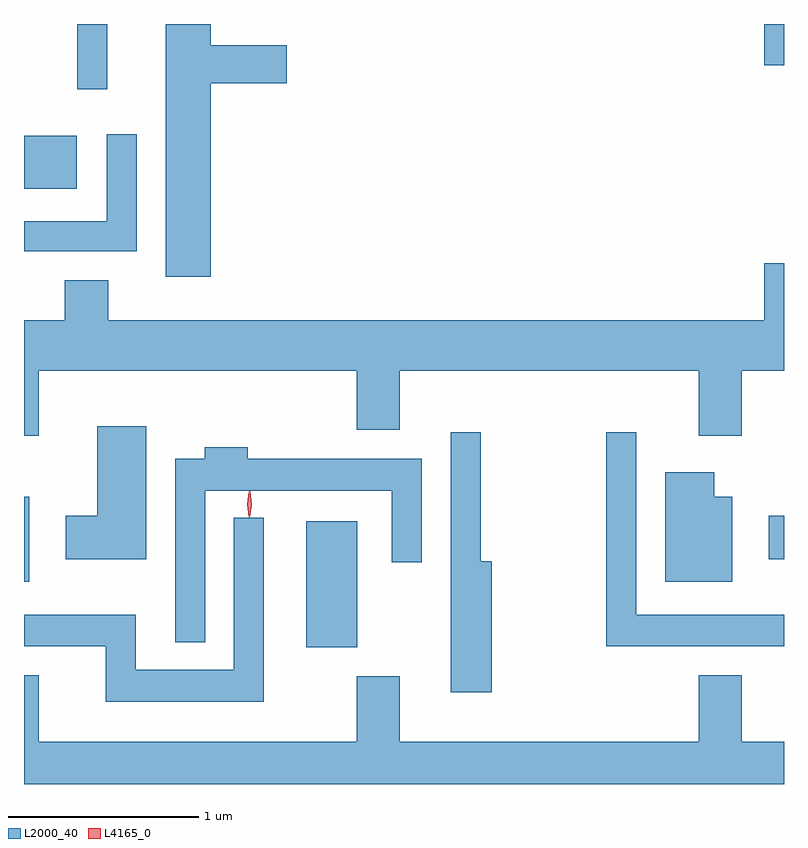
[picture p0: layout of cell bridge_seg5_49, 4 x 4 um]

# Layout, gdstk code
import gdstk
lib = gdstk.Library(unit=1e-6, precision=1e-09)
def R(c, l, rs):  # rectangles x0, y0, x1, y1
    for r in rs: c.add(gdstk.rectangle(r[:2], r[2:], *l))
def P(c, l, *ps):  # polygons
    for p in ps: c.add(gdstk.Polygon(p, *l))
L2000_40 = (2000, 40)
L4165_0 = (4165, 0)

bridge_seg5_49 = lib.new_cell('bridge_seg5_49')
R(bridge_seg5_49, L2000_40, [(1331.546,1475.321,1331.814,1475.984), (1330.061,1475.666,1330.089,1476.114), (1333.981,1475.786,1334.061,1476.014), (1330.061,1477.736,1330.339,1478.014), (1330.341,1478.258,1330.499,1478.602), (1333.956,1478.386,1334.061,1478.602)])
P(bridge_seg5_49, L2000_40, [(1331.044,1478.291),(1331.444,1478.291),(1331.444,1478.489),(1331.044,1478.489),(1331.044,1478.602),(1330.806,1478.602),(1330.806,1477.271),(1331.044,1477.271)],
  [(1330.654,1478.023),(1330.496,1478.023),(1330.496,1477.564),(1330.061,1477.564),(1330.061,1477.406),(1330.654,1477.406)],
  [(1330.504,1477.254),(1330.276,1477.254),(1330.276,1477.044),(1330.061,1477.044),(1330.061,1476.436),(1330.139,1476.436),(1330.139,1476.776),(1331.811,1476.776),(1331.811,1476.466),(1332.039,1476.466),(1332.039,1476.776),(1333.611,1476.776),(1333.611,1476.436),(1333.839,1476.436),(1333.839,1476.776),(1334.061,1476.776),(1334.061,1477.344),(1333.956,1477.344),(1333.956,1477.044),(1330.504,1477.044)],
  [(1330.704,1476.484),(1330.446,1476.484),(1330.446,1476.014),(1330.281,1476.014),(1330.281,1475.786),(1330.704,1475.786)],
  [(1334.061,1475.494),(1333.284,1475.494),(1333.284,1476.453),(1333.126,1476.453),(1333.126,1475.326),(1334.061,1475.326)],
  [(1332.524,1475.774),(1332.464,1475.774),(1332.464,1476.453),(1332.306,1476.453),(1332.306,1475.086),(1332.524,1475.086)],
  [(1331.014,1476.146),(1331.996,1476.146),(1331.996,1475.768),(1332.154,1475.768),(1332.154,1476.314),(1331.239,1476.314),(1331.239,1476.374),(1331.011,1476.374),(1331.011,1476.314),(1330.856,1476.314),(1330.856,1475.348),(1331.014,1475.348)],
  [(1333.789,1476.114),(1333.694,1476.114),(1333.694,1476.244),(1333.436,1476.244),(1333.436,1475.666),(1333.789,1475.666)],
  [(1331.324,1476.003),(1331.166,1476.003),(1331.166,1475.204),(1330.649,1475.204),(1330.649,1475.494),(1330.061,1475.494),(1330.061,1475.326),(1330.491,1475.326),(1330.491,1475.036),(1331.324,1475.036)],
  [(1334.061,1474.824),(1333.839,1474.824),(1333.839,1475.174),(1333.611,1475.174),(1333.611,1474.824),(1332.039,1474.824),(1332.039,1475.169),(1331.811,1475.169),(1331.811,1474.824),(1330.139,1474.824),(1330.139,1475.174),(1330.061,1475.174),(1330.061,1474.602),(1334.061,1474.602)])
P(bridge_seg5_49, L4165_0, [(1331.25,1476.003),(1331.249,1476.004),(1331.24,1476.073),(1331.25,1476.142),(1331.25,1476.143),(1331.251,1476.142),(1331.26,1476.073),(1331.25,1476.004)],
  [(1331.244,1476.007),(1331.235,1476.074),(1331.244,1476.14),(1331.245,1476.141),(1331.245,1476.14),(1331.255,1476.074),(1331.245,1476.007),(1331.245,1476.007)])

lib.write_gds('bridge_seg5_49.gds')
